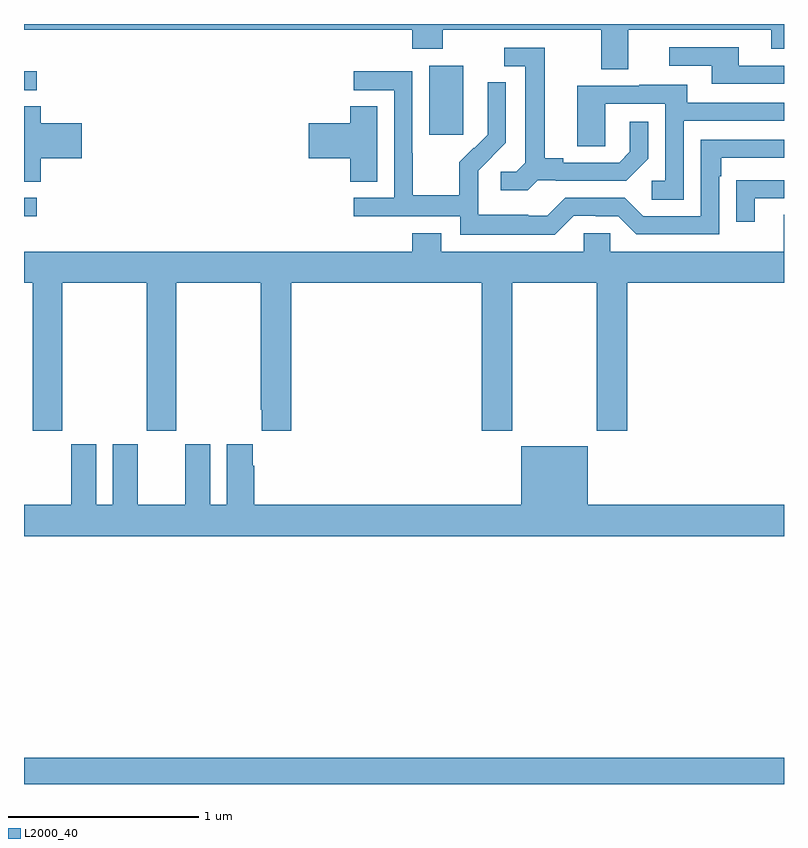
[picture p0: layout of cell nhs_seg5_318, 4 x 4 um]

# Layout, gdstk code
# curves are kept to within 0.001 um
import gdstk
lib = gdstk.Library(unit=1e-6, precision=1e-09)
def R(c, l, rs):  # rectangles x0, y0, x1, y1
    for r in rs: c.add(gdstk.rectangle(r[:2], r[2:], *l))
def P(c, l, *ps):  # polygons
    for p in ps: c.add(gdstk.Polygon(p, *l))
L2000_40 = (2000, 40)

nhs_seg5_318 = lib.new_cell('nhs_seg5_318')
R(nhs_seg5_318, L2000_40, [(131,844.799,135,844.936), (131,847.788,131.068,847.884), (133.133,848.217,133.312,848.578), (131,848.451,131.068,848.55)])
P(nhs_seg5_318, L2000_40, [(134.179,848.768),(134.933,848.768),(134.933,848.669),(135,848.669),(135,848.799),(131,848.799),(131,848.768),(133.043,848.768),(133.043,848.669),(133.203,848.669),(133.203,848.768),(134.039,848.768),(134.039,848.56),(134.179,848.56)],
  [(135,848.58),(134.761,848.58),(134.761,848.676),(134.397,848.676),(134.397,848.58),(134.621,848.58),(134.621,848.484),(135,848.484)],
  [(133.704,847.977),(133.798,847.977),(133.798,847.974),(134.17,847.974),(134.286,848.09),(134.286,848.284),(134.189,848.284),(134.189,848.127),(134.132,848.07),(133.837,848.07),(133.837,848.093),(133.741,848.093),(133.741,848.673),(133.527,848.673),(133.527,848.577),(133.637,848.577),(133.637,848.069),(133.59,848.022),(133.509,848.022),(133.509,847.925),(133.652,847.925)],
  [(133.893,847.791),(134.009,847.791),(134.009,847.788),(134.127,847.788),(134.223,847.692),(134.658,847.692),(134.658,847.997),(134.671,847.997),(134.671,848.094),(135,848.094),(135,848.19),(134.562,848.19),(134.562,847.788),(134.259,847.788),(134.163,847.884),(133.848,847.884),(133.755,847.791),(133.655,847.791),(133.655,847.795),(133.392,847.795),(133.392,847.929),(133.39,847.929),(133.39,848.026),(133.536,848.174),(133.536,848.492),(133.44,848.492),(133.44,848.338),(133.442,848.338),(133.442,848.216),(133.371,848.145),(133.368,848.148),(133.291,848.071),(133.291,847.897),(133.047,847.897),(133.047,848.12),(133.044,848.12),(133.044,848.55),(132.735,848.55),(132.735,848.451),(132.948,848.451),(132.948,847.884),(132.735,847.884),(132.735,847.788),(133.296,847.788),(133.296,847.691),(133.793,847.691)],
  [(134.472,848.289),(135,848.289),(135,848.385),(134.491,848.385),(134.491,848.479),(134.237,848.479),(134.237,848.475),(133.913,848.475),(133.913,848.155),(134.058,848.155),(134.058,848.379),(134.376,848.379),(134.376,847.974),(134.304,847.974),(134.304,847.873),(134.472,847.873)],
  [(131.087,848.093),(131.305,848.093),(131.305,848.276),(131.087,848.276),(131.087,848.366),(131,848.366),(131,847.969),(131.087,847.969)],
  [(132.859,848.366),(132.716,848.366),(132.716,848.276),(132.498,848.276),(132.498,848.093),(132.716,848.093),(132.716,847.969),(132.859,847.969)],
  [(134.845,847.881),(135,847.881),(135,847.977),(134.851,847.977),(134.851,847.976),(134.749,847.976),(134.749,847.758),(134.845,847.758)],
  [(131.202,847.436),(131.647,847.436),(131.647,846.657),(131.802,846.657),(131.802,847.436),(132.247,847.436),(132.247,846.769),(132.251,846.769),(132.251,846.657),(132.407,846.657),(132.407,847.436),(133.409,847.436),(133.409,846.657),(133.569,846.657),(133.569,847.436),(134.014,847.436),(134.014,846.657),(134.174,846.657),(134.174,847.436),(135,847.436),(135,847.795),(134.999,847.795),(134.999,847.6),(134.085,847.6),(134.085,847.698),(133.947,847.698),(133.947,847.6),(133.195,847.6),(133.195,847.699),(133.043,847.699),(133.043,847.6),(131,847.6),(131,847.436),(131.047,847.436),(131.047,846.657),(131.202,846.657)],
  [(135,846.268),(133.966,846.268),(133.966,846.577),(133.616,846.577),(133.616,846.268),(132.212,846.268),(132.212,846.473),(132.205,846.473),(132.205,846.586),(132.068,846.586),(132.068,846.268),(131.98,846.268),(131.98,846.586),(131.849,846.586),(131.849,846.268),(131.599,846.268),(131.599,846.586),(131.468,846.586),(131.468,846.268),(131.38,846.268),(131.38,846.586),(131.249,846.586),(131.249,846.268),(131,846.268),(131,846.104),(135,846.104)])

lib.write_gds('nhs_seg5_318.gds')
